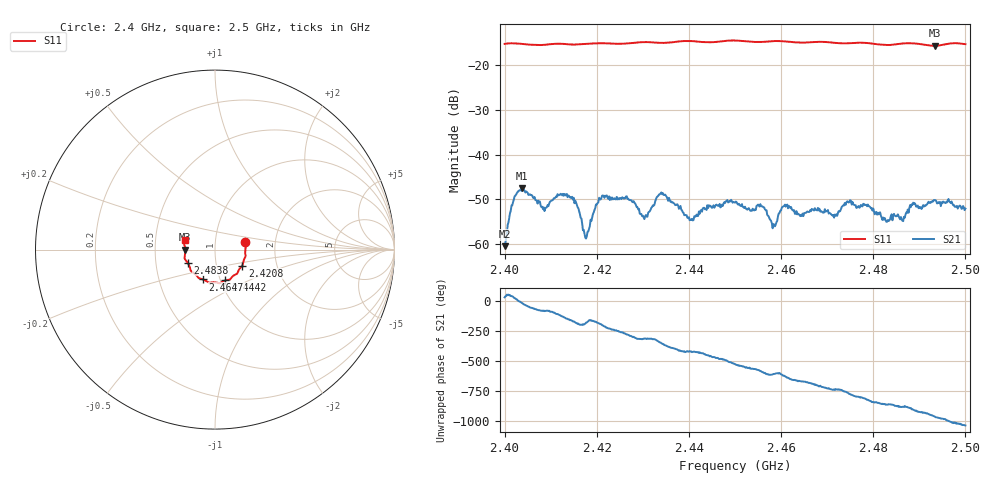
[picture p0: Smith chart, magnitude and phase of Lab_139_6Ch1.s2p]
# Hz S RI R 50
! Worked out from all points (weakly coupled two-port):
!   601 points, 2.4 GHz to 2.5 GHz, reference 50 ohm
!   highest |S21| = -47.57 dB at 2.4038 GHz (marker M1); lowest = -60.5 dB at 2.4 GHz (marker M2)
!   lowest |S11| = -15.6 dB at 2.4933 GHz (marker M3), VSWR 1.40, Z = 35.8 - j0.00583 ohm
!   |S11| at or under -10 dB: start of sweep to end of sweep
!   S12 and S22 are empty: the file has one direction only
!   S11 on the Smith chart (normalised r, x): 2.4 GHz: 1.40, +0.12; 2.4208 GHz: 1.33, -0.24; 2.4442 GHz: 1.05, -0.37; 2.4647 GHz: 0.83, -0.29; 2.4838 GHz: 0.73, -0.11; 2.5 GHz: 0.71, +0.08
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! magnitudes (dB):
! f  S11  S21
! 2.4 GHz  -15.2  -60.5
! 2.402 GHz  -15.1  -50.1
! 2.4038 GHz  -15.2  -47.6
! 2.4085 GHz  -15.4  -51.8
! 2.4138 GHz  -15.3  -49.1
! 2.4167 GHz  -15.3  -54.3
! 2.4178 GHz  -15.2  -58.3
! 2.4208 GHz  -15.1  -50.1
! 2.4305 GHz  -14.8  -53.8
! 2.4333 GHz  -15.0  -49.2
! 2.4405 GHz  -14.6  -54.6
! 2.4442 GHz  -14.9  -52.0
! 2.45 GHz  -14.5  -50.8
! 2.4585 GHz  -14.6  -55.7
! 2.4608 GHz  -14.7  -51.2
! 2.4647 GHz  -14.9  -53.2
! 2.4667 GHz  -14.8  -52.2
! 2.4747 GHz  -15.1  -50.7
! 2.4833 GHz  -15.5  -54.9
! 2.4838 GHz  -15.4  -53.7
! 2.4933 GHz  -15.6  -50.2
! 2.5 GHz  -15.3  -52.1
